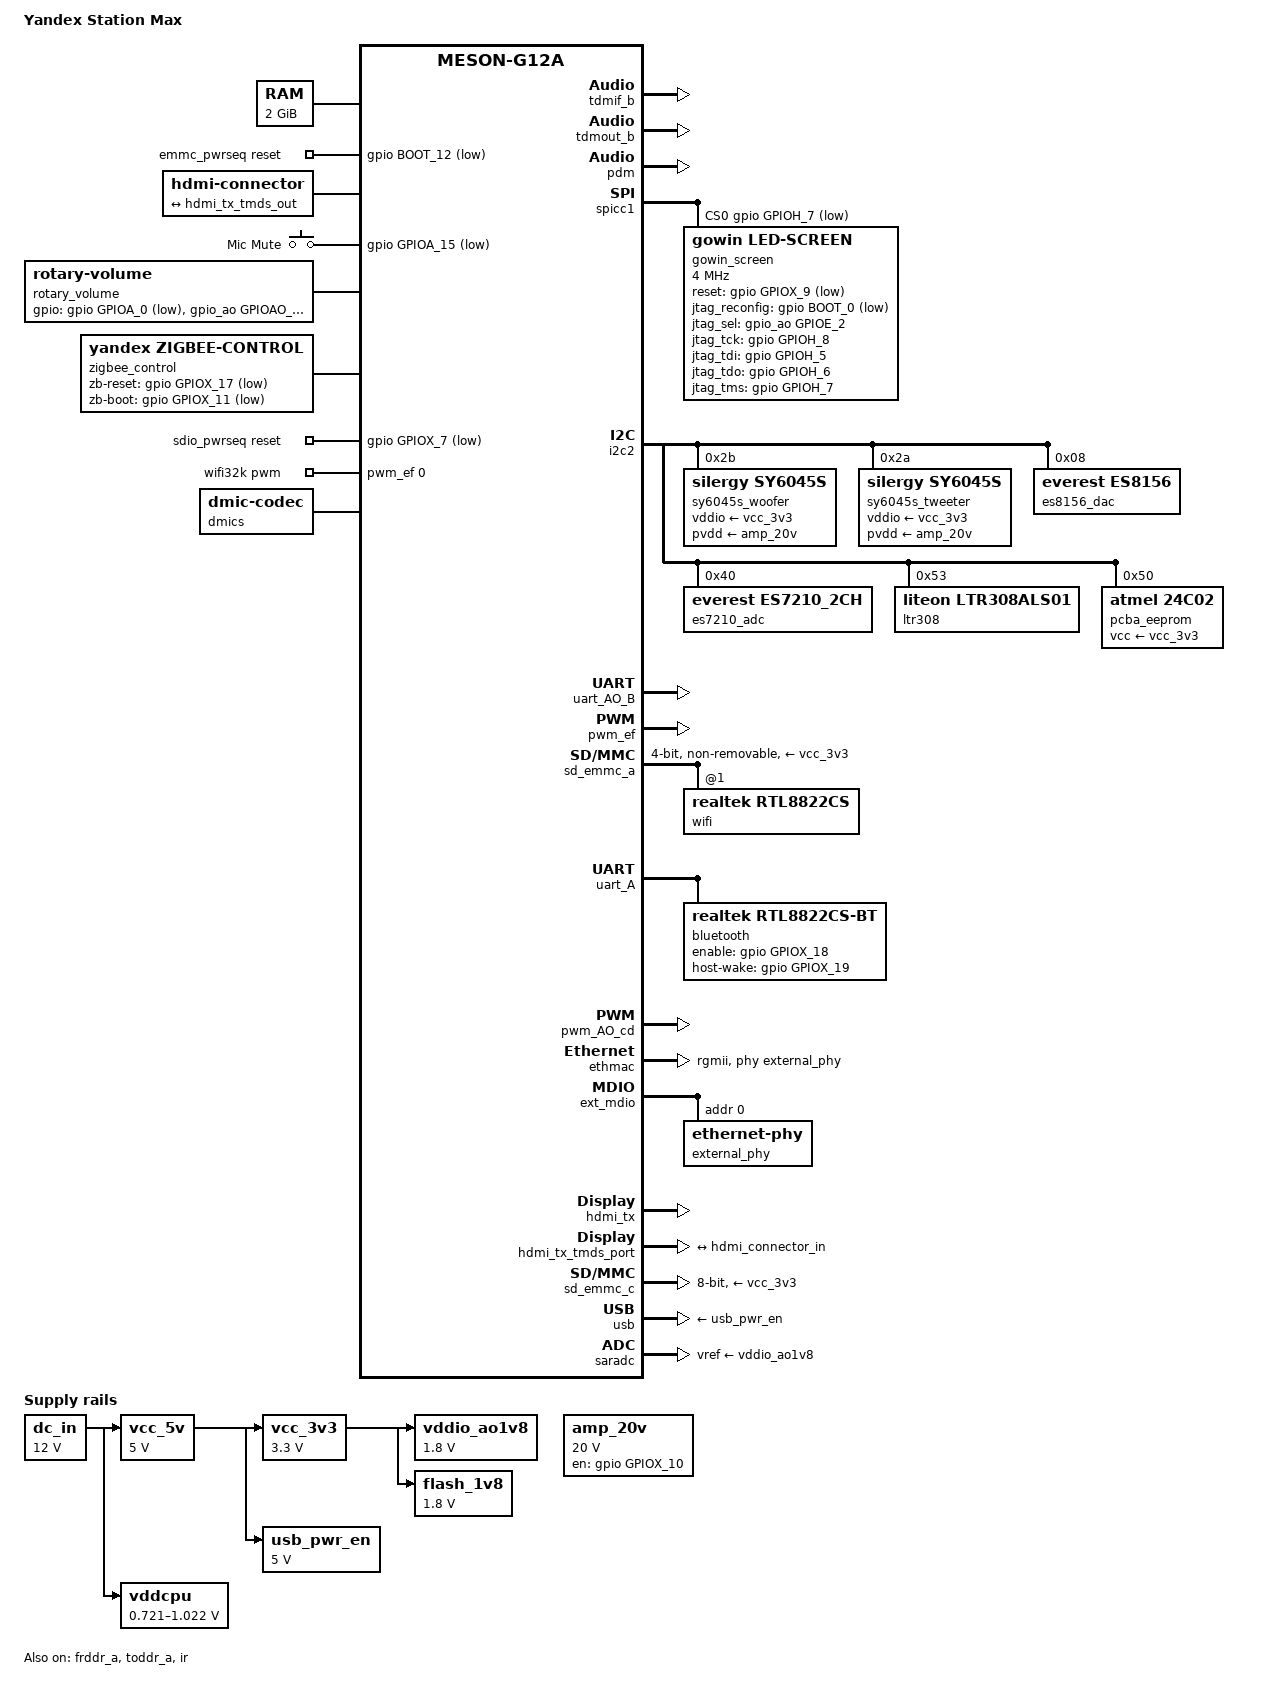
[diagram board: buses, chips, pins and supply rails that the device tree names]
// SPDX-License-Identifier: (GPL-2.0+ OR MIT)
/*
 * Device Tree Source for Yandex Station Max (Quasar 2)
 *
 * Based on Amlogic Meson G12A S905X2
 * Mainline Linux 6.x DTS
 */

/dts-v1/;

#include <dt-bindings/input/input.h>
#include <dt-bindings/gpio/gpio.h>
#include <dt-bindings/gpio/meson-g12a-gpio.h>
#include <dt-bindings/sound/meson-g12a-tohdmitx.h>
#include <dt-bindings/clock/axg-audio-clkc.h>
#include "meson-g12a.dtsi"

/ {
	compatible = "yandex,station-max", "amlogic,g12a";
	model = "Yandex Station Max";

	aliases {
		serial0 = &uart_AO;
		serial1 = &uart_A;
		serial2 = &uart_AO_B;
		ethernet0 = &ethmac;
	};

	chosen {
		stdout-path = "serial0:115200n8";
	};

	memory@0 {
		device_type = "memory";
		reg = <0x0 0x0 0x0 0x80000000>; /* 2GB RAM */
	};

	/* DC 12V/20V Main Supply */
	dc_in: regulator-dc_in {
		compatible = "regulator-fixed";
		regulator-name = "DC_IN";
		regulator-min-microvolt = <12000000>;
		regulator-max-microvolt = <12000000>;
		regulator-boot-on;
		regulator-always-on;
	};

	vcc_5v: regulator-vcc_5v {
		compatible = "regulator-fixed";
		regulator-name = "VCC_5V";
		regulator-min-microvolt = <5000000>;
		regulator-max-microvolt = <5000000>;
		vin-supply = <&dc_in>;
		regulator-boot-on;
		regulator-always-on;
	};

	vcc_3v3: regulator-vcc_3v3 {
		compatible = "regulator-fixed";
		regulator-name = "VCC_3V3";
		regulator-min-microvolt = <3300000>;
		regulator-max-microvolt = <3300000>;
		vin-supply = <&vcc_5v>;
		regulator-boot-on;
		regulator-always-on;
	};

	/* CPU DVFS Voltage Regulator (PWM_AO_D) */
	vddcpu: regulator-vddcpu {
		compatible = "pwm-regulator";
		regulator-name = "VDDCPU";
		regulator-min-microvolt = <721000>;
		regulator-max-microvolt = <1022000>;
		pwm-supply = <&dc_in>;
		pwms = <&pwm_AO_cd 1 1250 0>;
		pwm-dutycycle-range = <100 0>;
		regulator-boot-on;
		regulator-always-on;
	};

	vddio_ao1v8: regulator-vddio-ao1v8 {
		compatible = "regulator-fixed";
		regulator-name = "VDDIO_AO1V8";
		regulator-min-microvolt = <1800000>;
		regulator-max-microvolt = <1800000>;
		vin-supply = <&vcc_3v3>;
		regulator-always-on;
	};

	flash_1v8: regulator-flash_1v8 {
		compatible = "regulator-fixed";
		regulator-name = "FLASH_1V8";
		regulator-min-microvolt = <1800000>;
		regulator-max-microvolt = <1800000>;
		vin-supply = <&vcc_3v3>;
		regulator-always-on;
	};

	emmc_pwrseq: emmc-pwrseq {
		compatible = "mmc-pwrseq-emmc";
		reset-gpios = <&gpio BOOT_12 GPIO_ACTIVE_LOW>;
	};

	usb_pwr_en: regulator-usb-pwr-en {
		compatible = "regulator-fixed";
		regulator-name = "USB_PWR_EN";
		regulator-min-microvolt = <5000000>;
		regulator-max-microvolt = <5000000>;
		vin-supply = <&vcc_5v>;
		regulator-boot-on;
		regulator-always-on;
	};

	/* HDMI connector */
	hdmi-connector {
		compatible = "hdmi-connector";
		type = "a";

		port {
			hdmi_connector_in: endpoint {
				remote-endpoint = <&hdmi_tx_tmds_out>;
			};
		};
	};

	/* SY6045S amplifier 20V supply enable (GPIOX_10) */
	amp_20v: regulator-20v-amp {
		compatible = "regulator-fixed";
		regulator-name = "20V_AMPL";
		regulator-min-microvolt = <20000000>;
		regulator-max-microvolt = <20000000>;
		gpio = <&gpio GPIOX_10 GPIO_ACTIVE_HIGH>;
		enable-active-high;
	};

	/* Mic Mute Push-Button */
	gpio_keys: gpio-keys {
		compatible = "gpio-keys";
		pinctrl-names = "default";
		pinctrl-0 = <&button_pullup_pins>;

		button-micmute {
			label = "Mic Mute";
			linux,code = <KEY_MICMUTE>; /* 248 */
			gpios = <&gpio GPIOA_15 GPIO_ACTIVE_LOW>;
			debounce-interval = <20>;
			wakeup-source;
		};
	};

	/* Rotary Volume Encoder (A: GPIOA_0 [0x31], B: GPIOAO_10 [0x0a]) */
	rotary_volume: rotary-volume {
		compatible = "rotary-volume";
		gpios = <&gpio GPIOA_0 GPIO_ACTIVE_LOW>,
			<&gpio_ao GPIOAO_10 GPIO_ACTIVE_LOW>;
		status = "okay";
	};

	/* ZigBee Hardware Control (reset: GPIOX_17 [0x52], boot: GPIOX_11 [0x4c]) */
	zigbee_control: zigbee-control {
		compatible = "yandex,zigbee-control";
		zb-reset-gpios = <&gpio GPIOX_17 GPIO_ACTIVE_LOW>;
		zb-boot-gpios  = <&gpio GPIOX_11 GPIO_ACTIVE_LOW>;
		status = "okay";
	};

	/* Quasar PCBA ID Parser */
	pcba_ids: pcba-ids {
		compatible = "yandex,pcba-ids", "pcba-ids";
		eeproms = <&pcba_eeprom>;
		eeprom-names = "mainboard";
		status = "okay";
	};

	sdio_pwrseq: sdio-pwrseq {
		compatible = "mmc-pwrseq-simple";
		/* Vendor DTB: wifi.power_on_pin = <0x16 0x48 0x00>.
		 * 0x48 (72 decimal) in meson-g12a-gpio.h is GPIOX_7.
		 * mmc-pwrseq-simple deasserts reset-gpios to enable the chip.
		 * Deassert with ACTIVE_LOW drives pin HIGH = WL_REG_ON high = chip ON. */
		reset-gpios = <&gpio GPIOX_7 GPIO_ACTIVE_LOW>;
		clocks = <&wifi32k>;
		clock-names = "ext_clock";
		post-power-on-delay-ms = <200>;
	};

	wifi32k: wifi32k {
		compatible = "pwm-clock";
		#clock-cells = <0>;
		clock-frequency = <32768>;
		pwms = <&pwm_ef 0 30541 0>;
	};

	/* PDM microphone array (4 channels) */
	dmics: dmics {
		compatible = "dmic-codec";
		#sound-dai-cells = <0>;
		num-channels = <4>;
		wakeup-delay-ms = <50>;
		sound-name-prefix = "DMIC";
	};

	sound {
		compatible = "amlogic,axg-sound-card";
		model = "ATRISTATION";
		audio-aux-devs = <&tdmout_b>;
		audio-widgets = "Headphone", "Headphones";
		audio-routing =
			"Headphones", "LOUT",
			"Headphones", "ROUT",
			"TDMOUT_B IN 0", "FRDDR_A OUT 0",
			"TDM_B Playback", "TDMOUT_B OUT",
			"TODDR_A IN 4", "PDM Capture";

		clocks = <&clkc CLKID_MPLL2>,
			 <&clkc CLKID_MPLL0>;
		assigned-clocks = <&clkc CLKID_MPLL2>,
				  <&clkc CLKID_MPLL0>;
		assigned-clock-rates = <294912000>,
				       <270950400>;

		dai-link-0 {
			sound-dai = <&frddr_a>;
		};

		dai-link-1 {
			sound-dai = <&toddr_a>;
		};

		dai-link-2 {
			sound-dai = <&tdmif_b>;
			dai-format = "i2s";
			bitclock-master = <&tdmif_b>;
			frame-master = <&tdmif_b>;
			dai-tdm-slot-tx-mask-0 = <1 1>;
			mclk-fs = <256>;

			codec-0 {
				sound-dai = <&sy6045s_tweeter>;
			};
			codec-1 {
				sound-dai = <&sy6045s_woofer>;
			};
			codec-2 {
				sound-dai = <&es8156_dac>;
			};
		};

		dai-link-3 {
			sound-dai = <&pdm>;
			codec-0 {
				sound-dai = <&dmics>;
			};
		};
	};
};

/* Audio Controllers */
&clkc_audio {
	status = "okay";
};

&frddr_a {
	status = "okay";
};

&toddr_a {
	status = "okay";
};

&tdmif_b {
	status = "okay";
	pinctrl-0 = <&tdm_ao_b_dout2_pins>, <&tdm_ao_b_din0_pins>,
		    <&tdm_ao_b_fs_pins>, <&tdm_ao_b_sclk_pins>,
		    <&mclk0_ao_pins>;
	pinctrl-names = "default";
};

&tdmout_b {
	status = "okay";
};

&pdm {
	status = "okay";
	pinctrl-0 = <&pdm_dclk_c_pins>, <&pdm_din0_c_pins>,
		    <&pdm_din1_c_pins>, <&pdm_din2_c_pins>,
		    <&pdm_din3_c_pins>;
	pinctrl-names = "default";
};

/* SPI1 - Gowin FPGA (25x16 LED Screen & Touch) */
&spicc1 {
	status = "okay";
	pinctrl-names = "default";
	num-cs = <1>;
	cs-gpios = <&gpio GPIOH_7 GPIO_ACTIVE_LOW>;

	gowin_screen: led-panel@0 {
		compatible = "gowin,led-screen", "atri,led-panel", "ya,led-panel", "yandex,station-max-led-screen", "yandex,led-screen";
		reg = <0>;
		spi-max-frequency = <4000000>;
		max-brightness = <200>;
		pinctrl-names = "default", "jtag";
		pinctrl-0 = <&spicc1_pins>;
		pinctrl-1 = <&led_panel_jtag_pins>;
		reset-gpios = <&gpio GPIOX_9 GPIO_ACTIVE_LOW>;
		jtag_tck_desc = <0xff634468 0x08>;
		jtag_reconfig-gpios = <&gpio BOOT_0 GPIO_ACTIVE_LOW>;
		jtag_sel-gpios = <&gpio_ao GPIOE_2 GPIO_ACTIVE_HIGH>;
		jtag_tck-gpios = <&gpio GPIOH_8 GPIO_ACTIVE_HIGH>;
		jtag_tdi-gpios = <&gpio GPIOH_5 GPIO_ACTIVE_HIGH>;
		jtag_tdo-gpios = <&gpio GPIOH_6 GPIO_ACTIVE_HIGH>;
		jtag_tms-gpios = <&gpio GPIOH_7 GPIO_ACTIVE_HIGH>;
		status = "okay";
	};
};

&periphs_pinctrl {
	led_panel_jtag_pins: led-panel-jtag {
		mux {
			groups = "GPIOH_5", "GPIOH_6", "GPIOH_7", "GPIOH_8";
			function = "gpio_periphs";
			bias-disable;
		};
	};

	button_pullup_pins: button-pullup {
		mux {
			groups = "GPIOA_15";
			function = "gpio_periphs";
			bias-pull-up;
		};
	};
};

/* I2C Bus 2: Audio Amplifiers and Codecs */
&i2c2 {
	status = "okay";
	pinctrl-0 = <&i2c2_sda_z_pins>, <&i2c2_sck_z_pins>;
	pinctrl-names = "default";

	/* Silergy SY6045S Woofer Amplifier */
	sy6045s_woofer: amplifier@2b {
		compatible = "silergy,sy6045s";
		reg = <0x2b>;
		#sound-dai-cells = <0>;
		sound-name-prefix = "Woofer";
		pbtl-mode;
		vddio-supply = <&vcc_3v3>;
		pvdd-supply = <&amp_20v>;
		firmware = "sy6045s-woofer-settings.txt";
		restore-regs = <0x06 0x08>;
		status = "okay";
	};

	/* Silergy SY6045S Tweeter Amplifier */
	sy6045s_tweeter: amplifier@2a {
		compatible = "silergy,sy6045s";
		reg = <0x2a>;
		#sound-dai-cells = <0>;
		sound-name-prefix = "Tweeters";
		vddio-supply = <&vcc_3v3>;
		pvdd-supply = <&amp_20v>;
		firmware = "sy6045s-tweeters-settings.txt";
		restore-regs = <0x06 0x08>;
		status = "okay";
	};

	/* Everest ES8156 Headphone DAC */
	es8156_dac: codec@8 {
		compatible = "everest,es8156";
		reg = <0x08>;
		#sound-dai-cells = <0>;
		clocks = <&clkc_audio AUD_CLKID_MST_B_MCLK>;
		clock-names = "mclk";
		status = "okay";
	};

	/* Everest ES7210 2-Channel Feedback ADC */
	es7210_adc: codec@40 {
		compatible = "everest,es7210_2ch", "everest,es7210";
		reg = <0x40>;
		#sound-dai-cells = <0>;
		clocks = <&clkc_audio AUD_CLKID_MST_B_MCLK>;
		clock-names = "mclk";
		status = "okay";
	};

	/* Lite-On LTR-308ALS Ambient Light Sensor */
	ltr308: light-sensor@53 {
		compatible = "liteon,ltr308als01", "liteon,ltr308", "liteon,ltrf216a";
		reg = <0x53>;
		status = "okay";
	};

	pcba_eeprom: eeprom@50 {
		compatible = "atmel,24c02";
		reg = <0x50>;
		vcc-supply = <&vcc_3v3>;
		status = "okay";
	};
};

/* Zigbee radio (Tuya TZ9213-2782 module) on UART_AO_B */
&uart_AO_B {
	status = "okay";
	pinctrl-0 = <&uart_ao_b_2_3_pins>;
	pinctrl-names = "default";
};

/* PWM_E for 32.768kHz WiFi/BT LPO clock */
&pwm_ef {
	status = "okay";
	pinctrl-0 = <&pwm_e_pins>;
	pinctrl-names = "default";
};

/* WiFi RTL8822CS SDIO */
&sd_emmc_a {
	status = "okay";
	pinctrl-0 = <&sdio_pins>;
	pinctrl-1 = <&sdio_clk_gate_pins>;
	pinctrl-names = "default", "clk-gate";
	#address-cells = <1>;
	#size-cells = <0>;
	bus-width = <4>;
	cap-sd-highspeed;
	sd-uhs-sdr12;
	sd-uhs-sdr25;
	sd-uhs-sdr50;
	max-frequency = <100000000>;
	cap-sdio-irq;
	non-removable;
	disable-wp;
	keep-power-in-suspend;
	mmc-pwrseq = <&sdio_pwrseq>;
	vmmc-supply = <&vcc_3v3>;
	vqmmc-supply = <&vddio_ao1v8>;

	wifi@1 {
		reg = <1>;
		compatible = "realtek,rtl8822cs";
	};
};

/* Bluetooth RTL8822CS-BT on UART_A */
&uart_A {
	status = "okay";
	pinctrl-0 = <&uart_a_pins>, <&uart_a_cts_rts_pins>;
	pinctrl-names = "default";
	uart-has-rtscts;

	bluetooth: bluetooth {
		compatible = "realtek,rtl8822cs-bt";
		/* Vendor DTB: reset=0x53 (83 decimal in meson-g12a-gpio.h is GPIOX_18) */
		enable-gpios = <&gpio GPIOX_18 GPIO_ACTIVE_HIGH>;
		/* Vendor DTB: hostwake=0x55 (84 decimal in mainline meson-g12a-gpio.h is GPIOX_19) */
		host-wake-gpios = <&gpio GPIOX_19 GPIO_ACTIVE_HIGH>;
		max-speed = <3000000>;
		clocks = <&wifi32k>;
		clock-names = "lpo";
		status = "okay";
	};
};

/* CPU DVFS */
&cpu0 {
	cpu-supply = <&vddcpu>;
};

&cpu1 {
	cpu-supply = <&vddcpu>;
};

&cpu2 {
	cpu-supply = <&vddcpu>;
};

&cpu3 {
	cpu-supply = <&vddcpu>;
};

&pwm_AO_cd {
	pinctrl-0 = <&pwm_ao_d_e_pins>;
	pinctrl-names = "default";
	status = "okay";
};

/* Gigabit Ethernet */
&ethmac {
	status = "okay";
	pinctrl-0 = <&eth_pins>, <&eth_rgmii_pins>;
	pinctrl-names = "default";
	phy-mode = "rgmii";
	phy-handle = <&external_phy>;
	amlogic,tx-delay-ns = <2>;
};

&ext_mdio {
	external_phy: ethernet-phy@0 {
		reg = <0>;
		max-speed = <1000>;
	};
};

/* HDMI Display Output */
&hdmi_tx {
	status = "okay";
	pinctrl-0 = <&hdmitx_hpd_pins>, <&hdmitx_ddc_pins>;
	pinctrl-names = "default";
	hdmi-supply = <&vcc_5v>;
};

&hdmi_tx_tmds_port {
	hdmi_tx_tmds_out: endpoint {
		remote-endpoint = <&hdmi_connector_in>;
	};
};

/* eMMC Internal Flash Storage */
&sd_emmc_c {
	status = "okay";
	pinctrl-0 = <&emmc_ctrl_pins>, <&emmc_data_8b_pins>, <&emmc_ds_pins>;
	pinctrl-1 = <&emmc_clk_gate_pins>;
	pinctrl-names = "default", "clk-gate";
	bus-width = <8>;
	cap-mmc-highspeed;
	mmc-ddr-1_8v;
	mmc-hs200-1_8v;
	max-frequency = <200000000>;
	disable-wp;
	mmc-pwrseq = <&emmc_pwrseq>;
	vmmc-supply = <&vcc_3v3>;
	vqmmc-supply = <&flash_1v8>;
};

/* USB Host / OTG */
&usb {
	status = "okay";
	vbus-supply = <&usb_pwr_en>;
};

&usb2_phy0 {
	phy-supply = <&vcc_5v>;
};

/* IR Remote Receiver */
&ir {
	status = "okay";
	pinctrl-0 = <&remote_input_ao_pins>;
	pinctrl-names = "default";
};

/* SAR ADC for Analog Knob / Diagnostics */
&saradc {
	status = "okay";
	vref-supply = <&vddio_ao1v8>;
};
